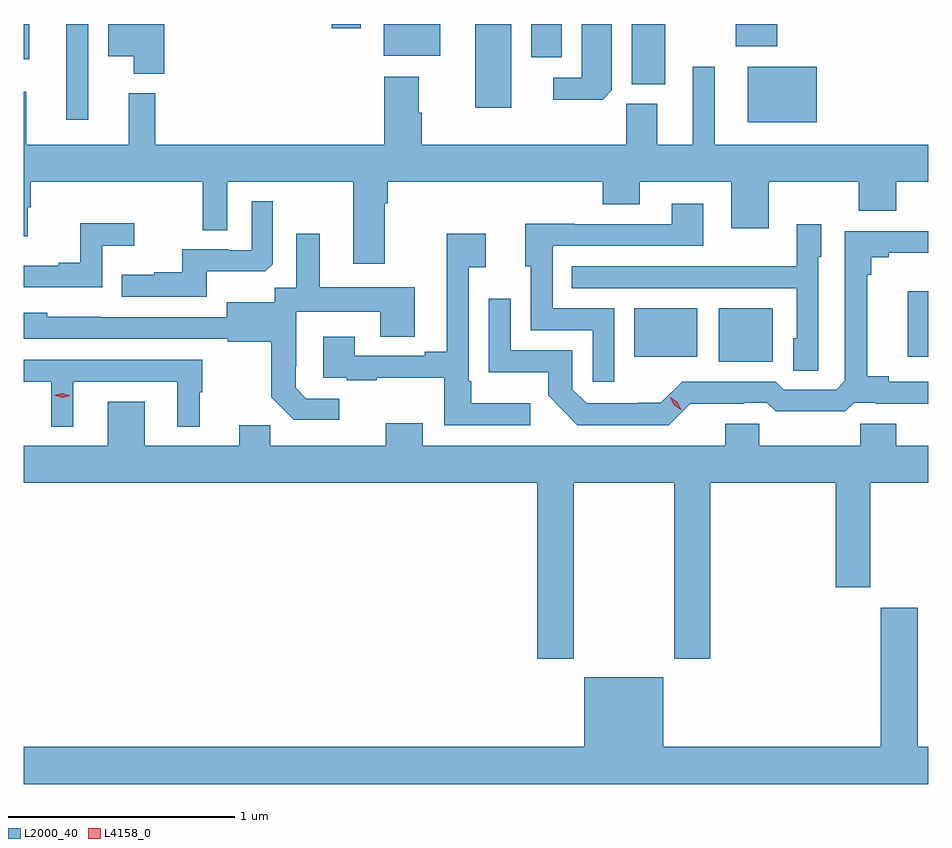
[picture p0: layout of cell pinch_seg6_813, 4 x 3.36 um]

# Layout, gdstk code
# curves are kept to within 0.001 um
import gdstk
lib = gdstk.Library(unit=1e-6, precision=1e-09)
def R(c, l, rs):  # rectangles x0, y0, x1, y1
    for r in rs: c.add(gdstk.rectangle(r[:2], r[2:], *l))
def P(c, l, *ps):  # polygons
    for p in ps: c.add(gdstk.Polygon(p, *l))
L2000_40 = (2000, 40)
L4158_0 = (4158, 0)

pinch_seg6_813 = lib.new_cell('pinch_seg6_813')
R(pinch_seg6_813, L2000_40, [(175.724,962.525,175.963,962.761), (175.352,962.546,175.63,962.761), (176.561,962.546,176.651,962.836), (175.853,963.584,176.158,963.829), (172.838,963.594,172.935,964.018), (174.647,963.648,174.808,964.018), (175.34,963.751,175.488,964.018), (172.651,963.863,172.675,964.018), (174.896,963.87,175.03,964.018), (174.242,963.878,174.493,964.018), (175.8,963.92,175.983,964.018), (174.013,964,174.141,964.018)])
P(pinch_seg6_813, L2000_40, [(173.273,964.018),(173.024,964.018),(173.024,963.875),(173.138,963.875),(173.138,963.797),(173.273,963.797)],
  [(175.252,963.724),(175.252,964.018),(175.118,964.018),(175.118,963.78),(174.993,963.78),(174.993,963.683),(175.211,963.683)],
  [(174.247,963.224),(174.26,963.224),(174.26,963.32),(175.211,963.32),(175.211,963.221),(175.375,963.221),(175.375,963.32),(175.781,963.32),(175.781,963.114),(175.945,963.114),(175.945,963.32),(176.345,963.32),(176.345,963.192),(176.509,963.192),(176.509,963.32),(176.651,963.32),(176.651,963.484),(175.708,963.484),(175.708,963.829),(175.61,963.829),(175.61,963.484),(175.453,963.484),(175.453,963.666),(175.315,963.666),(175.315,963.484),(174.41,963.484),(174.41,963.626),(174.397,963.626),(174.397,963.784),(174.245,963.784),(174.245,963.484),(173.231,963.484),(173.231,963.712),(173.114,963.712),(173.114,963.484),(172.661,963.484),(172.661,963.718),(172.651,963.718),(172.651,963.078),(172.669,963.078),(172.669,963.207),(172.682,963.207),(172.682,963.32),(173.442,963.32),(173.442,963.106),(173.55,963.106),(173.55,963.32),(174.107,963.32),(174.107,962.958),(174.247,962.958)],
  [(173.461,962.924),(173.719,962.924),(173.751,962.955),(173.751,963.235),(173.658,963.235),(173.658,963.018),(173.558,963.018),(173.558,963.021),(173.351,963.021),(173.351,962.92),(173.227,962.92),(173.227,962.908),(173.083,962.908),(173.083,962.811),(173.461,962.811)],
  [(175.263,962.76),(174.99,962.76),(174.99,963.036),(175.657,963.036),(175.657,963.223),(175.517,963.223),(175.517,963.132),(175.087,963.132),(175.087,963.134),(174.869,963.134),(174.869,962.946),(174.894,962.946),(174.894,962.664),(175.167,962.664),(175.167,962.436),(175.263,962.436)],
  [(172.998,963.038),(173.14,963.038),(173.14,963.137),(172.9,963.137),(172.9,962.962),(172.805,962.962),(172.805,962.949),(172.651,962.949),(172.651,962.853),(172.998,962.853)],
  [(176.166,962.988),(176.179,962.988),(176.179,963.133),(176.07,963.133),(176.07,962.947),(175.753,962.947),(175.753,962.946),(175.075,962.946),(175.075,962.85),(176.07,962.85),(176.07,962.628),(176.054,962.628),(176.054,962.485),(176.166,962.485)],
  [(175.598,962.339),(175.838,962.339),(175.838,962.343),(175.938,962.343),(175.978,962.304),(176.285,962.304),(176.325,962.343),(176.419,962.343),(176.419,962.339),(176.651,962.339),(176.651,962.436),(176.476,962.436),(176.476,962.459),(176.381,962.459),(176.381,962.909),(176.399,962.909),(176.399,962.986),(176.476,962.986),(176.476,963.005),(176.651,963.005),(176.651,963.102),(176.283,963.102),(176.283,962.439),(176.244,962.4),(176.013,962.4),(175.977,962.436),(175.563,962.436),(175.469,962.342),(175.364,962.342),(175.364,962.34),(175.14,962.34),(175.077,962.403),(175.077,962.574),(174.804,962.574),(174.804,962.803),(174.708,962.803),(174.708,962.477),(174.97,962.477),(174.97,962.375),(175.1,962.244),(175.503,962.244)],
  [(174.892,962.341),(174.631,962.341),(174.631,962.437),(174.618,962.437),(174.618,962.942),(174.694,962.942),(174.694,963.091),(174.521,963.091),(174.521,962.569),(174.425,962.569),(174.425,962.55),(174.115,962.55),(174.115,962.635),(173.975,962.635),(173.975,962.454),(174.079,962.454),(174.079,962.442),(174.211,962.442),(174.211,962.453),(174.51,962.453),(174.51,962.244),(174.892,962.244)],
  [(174.046,962.361),(173.901,962.361),(173.854,962.408),(173.854,962.503),(173.856,962.503),(173.856,962.744),(174.227,962.744),(174.227,962.635),(174.379,962.635),(174.379,962.854),(173.959,962.854),(173.959,963.091),(173.855,963.091),(173.855,962.852),(173.76,962.852),(173.76,962.788),(173.549,962.788),(173.549,962.721),(172.755,962.722),(172.755,962.74),(172.651,962.74),(172.651,962.625),(173.553,962.625),(173.553,962.613),(173.745,962.613),(173.745,962.367),(173.845,962.267),(174.046,962.267)],
  [(172.87,962.436),(173.33,962.436),(173.33,962.237),(173.428,962.237),(173.428,962.388),(173.44,962.388),(173.44,962.532),(172.651,962.532),(172.651,962.436),(172.772,962.436),(172.772,962.237),(172.87,962.237)],
  [(175.083,961.988),(175.528,961.988),(175.528,961.209),(175.688,961.209),(175.688,961.988),(176.243,961.988),(176.243,961.527),(176.395,961.527),(176.395,961.988),(176.651,961.988),(176.651,962.152),(176.51,962.152),(176.51,962.25),(176.35,962.25),(176.35,962.152),(175.905,962.152),(175.905,962.25),(175.754,962.25),(175.754,962.152),(174.415,962.152),(174.415,962.251),(174.251,962.251),(174.251,962.152),(173.741,962.152),(173.741,962.243),(173.603,962.243),(173.603,962.152),(173.185,962.152),(173.185,962.347),(173.021,962.347),(173.021,962.152),(172.651,962.152),(172.651,961.988),(174.923,961.988),(174.923,961.209),(175.083,961.209)],
  [(176.651,960.82),(176.605,960.82),(176.605,961.435),(176.441,961.435),(176.441,960.82),(175.48,960.82),(175.48,961.129),(175.13,961.129),(175.13,960.82),(172.651,960.82),(172.651,960.656),(176.651,960.656)])
P(pinch_seg6_813, L4158_0, [(175.557,962.312),(175.526,962.333),(175.51,962.366),(175.51,962.367),(175.51,962.367),(175.541,962.346),(175.558,962.312),(175.558,962.312)],
  [(172.821,962.365),(172.786,962.376),(172.785,962.376),(172.786,962.376),(172.821,962.385),(172.856,962.374),(172.857,962.373),(172.856,962.373)])

lib.write_gds('pinch_seg6_813.gds')
